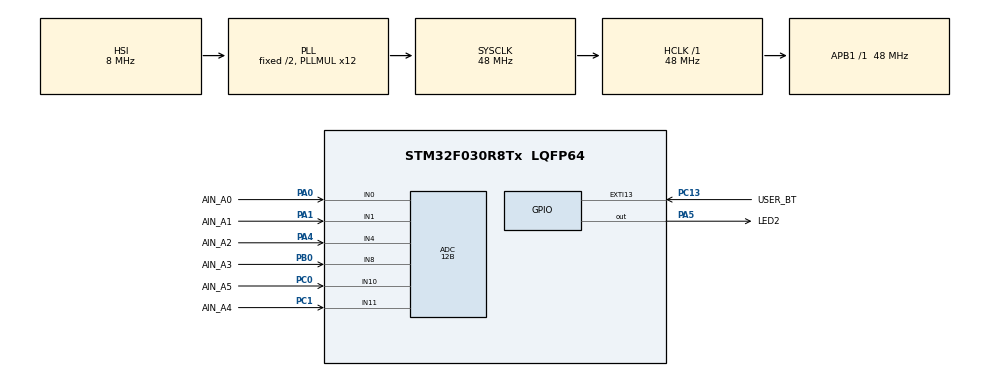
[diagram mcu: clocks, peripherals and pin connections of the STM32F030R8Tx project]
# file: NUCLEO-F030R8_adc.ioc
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ADC.ClockPrescaler=ADC_CLOCK_ASYNC_DIV1
ADC.ContinuousConvMode=DISABLE
ADC.DMAContinuousRequests=DISABLE
ADC.DataAlign=ADC_DATAALIGN_RIGHT
ADC.DiscontinuousConvMode=DISABLE
ADC.EOCSelection=ADC_EOC_SINGLE_CONV
ADC.EnableAnalogWatchDog=false
ADC.ExternalTrigConv=ADC_SOFTWARE_START
ADC.ExternalTrigConvEdge=ADC_EXTERNALTRIGCONVEDGE_NONE
ADC.LowPowerAutoPowerOff=DISABLE
ADC.LowPowerAutoWait=DISABLE
ADC.Overrun=ADC_OVR_DATA_PRESERVED
ADC.Resolution=ADC_RESOLUTION_12B
ADC.SamplingTime=ADC_SAMPLETIME_1CYCLE_5
ADC.ScanConvMode=ADC_SCAN_DIRECTION_FORWARD
Dma.ADC.0.Direction=DMA_PERIPH_TO_MEMORY
Dma.ADC.0.Instance=DMA1_Channel1
Dma.ADC.0.MemDataAlignment=DMA_MDATAALIGN_WORD
Dma.ADC.0.MemInc=DMA_MINC_ENABLE
Dma.ADC.0.Mode=DMA_CIRCULAR
Dma.ADC.0.PeriphDataAlignment=DMA_PDATAALIGN_WORD
Dma.ADC.0.PeriphInc=DMA_PINC_DISABLE
Dma.ADC.0.Priority=DMA_PRIORITY_LOW
Dma.Request0=ADC
Mcu.Family=STM32F0
Mcu.Name=STM32F030R8Tx
Mcu.Package=LQFP64
NVIC.ADC1_IRQn=true\:0\:0\:false\:false\:true\:true
NVIC.DMA1_Channel1_IRQn=true\:0\:0\:false\:false\:true\:true
NVIC.EXTI4_15_IRQn=true\:0\:0\:false\:false\:true\:true
PA0.GPIO_Label=AIN_A0
PA0.Mode=IN0
PA0.Signal=ADC_IN0
PA1.GPIO_Label=AIN_A1
PA1.Mode=IN1
PA1.Signal=ADC_IN1
PA13.Mode=Serial_Wire
PA13.Signal=SYS_SWDIO
PA14.Mode=Serial_Wire
PA14.Signal=SYS_SWCLK
PA4.GPIO_Label=AIN_A2
PA4.Mode=IN4
PA4.Signal=ADC_IN4
PA5.GPIO_Label=LED2
PA5.Signal=GPIO_Output
PB0.GPIO_Label=AIN_A3
PB0.Mode=IN8
PB0.Signal=ADC_IN8
PC0.GPIO_Label=AIN_A5
PC0.Mode=IN10
PC0.Signal=ADC_IN10
PC1.GPIO_Label=AIN_A4
PC1.Mode=IN11
PC1.Signal=ADC_IN11
PC13.GPIO_Label=USER_BT
PC13.GPIO_ModeDefaultEXTI=GPIO_MODE_IT_FALLING
PC13.Signal=GPXTI13
ProjectManager.HeapSize=0x200
ProjectManager.StackSize=0x400
ProjectManager.TargetToolchain=EWARM
RCC.AHBFreq_Value=48000000
RCC.APB1Freq_Value=48000000
RCC.APB1TimFreq_Value=48000000
RCC.HCLKFreq_Value=48000000
RCC.PLLMUL=RCC_PLL_MUL12
RCC.SYSCLKFreq_VALUE=48000000
RCC.SYSCLKSource=RCC_SYSCLKSOURCE_PLLCLK
board=NUCLEO-F030R8_adc

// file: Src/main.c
/**
  ******************************************************************************
  * @file           : main.c
  * @brief          : Main program body
  ******************************************************************************
  ** This notice applies to any and all portions of this file
  * that are not between comment pairs USER CODE BEGIN and
  * USER CODE END. Other portions of this file, whether
  * inserted by the user or by software development tools
  * are owned by their respective copyright owners.
  *
  * COPYRIGHT(c) 2018 STMicroelectronics
  *
  * Redistribution and use in source and binary forms, with or without modification,
  * are permitted provided that the following conditions are met:
  *   1. Redistributions of source code must retain the above copyright notice,
  *      this list of conditions and the following disclaimer.
  *   2. Redistributions in binary form must reproduce the above copyright notice,
  *      this list of conditions and the following disclaimer in the documentation
  *      and/or other materials provided with the distribution.
  *   3. Neither the name of STMicroelectronics nor the names of its contributors
  *      may be used to endorse or promote products derived from this software
  *      without specific prior written permission.
  *
  * THIS SOFTWARE IS PROVIDED BY THE COPYRIGHT HOLDERS AND CONTRIBUTORS "AS IS"
  * AND ANY EXPRESS OR IMPLIED WARRANTIES, INCLUDING, BUT NOT LIMITED TO, THE
  * IMPLIED WARRANTIES OF MERCHANTABILITY AND FITNESS FOR A PARTICULAR PURPOSE ARE
  * DISCLAIMED. IN NO EVENT SHALL THE COPYRIGHT HOLDER OR CONTRIBUTORS BE LIABLE
  * FOR ANY DIRECT, INDIRECT, INCIDENTAL, SPECIAL, EXEMPLARY, OR CONSEQUENTIAL
  * DAMAGES (INCLUDING, BUT NOT LIMITED TO, PROCUREMENT OF SUBSTITUTE GOODS OR
  * SERVICES; LOSS OF USE, DATA, OR PROFITS; OR BUSINESS INTERRUPTION) HOWEVER
  * CAUSED AND ON ANY THEORY OF LIABILITY, WHETHER IN CONTRACT, STRICT LIABILITY,
  * OR TORT (INCLUDING NEGLIGENCE OR OTHERWISE) ARISING IN ANY WAY OUT OF THE USE
  * OF THIS SOFTWARE, EVEN IF ADVISED OF THE POSSIBILITY OF SUCH DAMAGE.
  *
  ******************************************************************************
  */
#include "main.h"
#include "stm32f0xx_hal.h"
#include "adc.h"
#include "dma.h"
#include "gpio.h"

/* USER CODE BEGIN Includes */

//#define ADC_POLLING
//#define ADC_INTERRUPT
#define ADC_DMA

/* USER CODE END Includes */

/* USER CODE BEGIN PV */
/* Private variables ---------------------------------------------------------*/
extern ADC_HandleTypeDef hadc;

uint32_t adc_channel = ADC_CHANNEL_0;
uint32_t valor_adc[6];
/* USER CODE END PV */

void SystemClock_Config(void);

/* USER CODE BEGIN PFP */
/* Private function prototypes -----------------------------------------------*/
void ADC_leitura_canais(void);
/* USER CODE END PFP */

int main(void)
{

  /* MCU Configuration----------------------------------------------------------*/

  /* Reset of all peripherals, Initializes the Flash interface and the Systick. */
  HAL_Init();

  /* Configure the system clock */
  SystemClock_Config();

  /* Initialize all configured peripherals */
  MX_GPIO_Init();
  MX_DMA_Init();
  MX_ADC_Init();

  /* Infinite loop */
  while (1)
  {

  /* USER CODE BEGIN 3 */

#ifdef ADC_POLLING
    //Leituras por Polling
    HAL_ADC_Start(&hadc);                               //Inicia a conversão
    HAL_ADC_PollForConversion(&hadc, 100);
    ADC_leitura_canais();
#endif

#ifdef ADC_INTERRUPT
    //Leituras por Interrupção
    HAL_ADC_Start_IT(&hadc);
    while(1);
#endif

#ifdef ADC_DMA
    //Leituras por DMA
    HAL_ADC_Start_DMA(&hadc, valor_adc, 6);
    HAL_Delay(1000);    //Leituras a cada 1 seg
#endif

  }
  /* USER CODE END 3 */

}

void SystemClock_Config(void)
{

  RCC_OscInitTypeDef RCC_OscInitStruct;
  RCC_ClkInitTypeDef RCC_ClkInitStruct;

    /**Initializes the CPU, AHB and APB busses clocks
    */
  RCC_OscInitStruct.OscillatorType = RCC_OSCILLATORTYPE_HSI|RCC_OSCILLATORTYPE_HSI14;
  RCC_OscInitStruct.HSIState = RCC_HSI_ON;
  RCC_OscInitStruct.HSI14State = RCC_HSI14_ON;
  RCC_OscInitStruct.HSICalibrationValue = 16;
  RCC_OscInitStruct.HSI14CalibrationValue = 16;
  RCC_OscInitStruct.PLL.PLLState = RCC_PLL_ON;
  RCC_OscInitStruct.PLL.PLLSource = RCC_PLLSOURCE_HSI;
  RCC_OscInitStruct.PLL.PLLMUL = RCC_PLL_MUL12;
  RCC_OscInitStruct.PLL.PREDIV = RCC_PREDIV_DIV1;
  if (HAL_RCC_OscConfig(&RCC_OscInitStruct) != HAL_OK)
  {
    _Error_Handler(__FILE__, __LINE__);
  }

    /**Initializes the CPU, AHB and APB busses clocks
    */
  RCC_ClkInitStruct.ClockType = RCC_CLOCKTYPE_HCLK|RCC_CLOCKTYPE_SYSCLK
                              |RCC_CLOCKTYPE_PCLK1;
  RCC_ClkInitStruct.SYSCLKSource = RCC_SYSCLKSOURCE_PLLCLK;
  RCC_ClkInitStruct.AHBCLKDivider = RCC_SYSCLK_DIV1;
  RCC_ClkInitStruct.APB1CLKDivider = RCC_HCLK_DIV1;

  if (HAL_RCC_ClockConfig(&RCC_ClkInitStruct, FLASH_LATENCY_1) != HAL_OK)
  {
    _Error_Handler(__FILE__, __LINE__);
  }

    /**Configure the Systick interrupt time
    */
  HAL_SYSTICK_Config(HAL_RCC_GetHCLKFreq()/1000);

    /**Configure the Systick
    */
  HAL_SYSTICK_CLKSourceConfig(SYSTICK_CLKSOURCE_HCLK);

  /* SysTick_IRQn interrupt configuration */
  HAL_NVIC_SetPriority(SysTick_IRQn, 0, 0);
}

/* USER CODE BEGIN 4 */

void HAL_ADC_ConvCpltCallback(ADC_HandleTypeDef* hadc)
{
#ifdef ADC_INTERRUPT
  ADC_leitura_canais();
#endif
}

void ADC_leitura_canais(void)
{
  ADC_ChannelConfTypeDef sConfig;

  switch(adc_channel)
  {
    case ADC_CHANNEL_0 :
      valor_adc[0] = HAL_ADC_GetValue(&hadc);
      sConfig.Rank = ADC_RANK_NONE;
      sConfig.Channel = ADC_CHANNEL_0;
      HAL_ADC_ConfigChannel(&hadc, &sConfig);
      adc_channel = ADC_CHANNEL_1;
      break;

    case ADC_CHANNEL_1 :
      valor_adc[1] = HAL_ADC_GetValue(&hadc);
      sConfig.Rank = ADC_RANK_NONE;
      sConfig.Channel = ADC_CHANNEL_1;
      HAL_ADC_ConfigChannel(&hadc, &sConfig);
      adc_channel = ADC_CHANNEL_4;
      break;

    case ADC_CHANNEL_4 :
      valor_adc[2] = HAL_ADC_GetValue(&hadc);
      sConfig.Rank = ADC_RANK_NONE;
      sConfig.Channel = ADC_CHANNEL_4;
      HAL_ADC_ConfigChannel(&hadc, &sConfig);
      adc_channel = ADC_CHANNEL_8;
      break;

    case ADC_CHANNEL_8 :
      valor_adc[3] = HAL_ADC_GetValue(&hadc);
      sConfig.Rank = ADC_RANK_NONE;
      sConfig.Channel = ADC_CHANNEL_8;
      HAL_ADC_ConfigChannel(&hadc, &sConfig);
      adc_channel = ADC_CHANNEL_10;
      break;

    case ADC_CHANNEL_10 :
      valor_adc[4] = HAL_ADC_GetValue(&hadc);
      sConfig.Rank = ADC_RANK_NONE;
      sConfig.Channel = ADC_CHANNEL_10;
      HAL_ADC_ConfigChannel(&hadc, &sConfig);
      adc_channel = ADC_CHANNEL_11;
      break;

    case ADC_CHANNEL_11 :
      valor_adc[5] = HAL_ADC_GetValue(&hadc);
      sConfig.Rank = ADC_RANK_CHANNEL_NUMBER;
      sConfig.Channel = ADC_CHANNEL_0;
      HAL_ADC_ConfigChannel(&hadc, &sConfig);
      sConfig.Channel = ADC_CHANNEL_1;
      HAL_ADC_ConfigChannel(&hadc, &sConfig);
      sConfig.Channel = ADC_CHANNEL_4;
      HAL_ADC_ConfigChannel(&hadc, &sConfig);
      sConfig.Channel = ADC_CHANNEL_8;
      HAL_ADC_ConfigChannel(&hadc, &sConfig);
      sConfig.Channel = ADC_CHANNEL_10;
      HAL_ADC_ConfigChannel(&hadc, &sConfig);
      sConfig.Channel = ADC_CHANNEL_11;
      HAL_ADC_ConfigChannel(&hadc, &sConfig);
      adc_channel = ADC_CHANNEL_0;
      break;
  }

#ifdef ADC_INTERRUPT
  HAL_ADC_Start_IT(&hadc);
#endif
}

/* USER CODE END 4 */

void _Error_Handler(char *file, int line)
{
  while(1)
  {
  }
}

/************************ (C) COPYRIGHT STMicroelectronics *****END OF FILE****/
